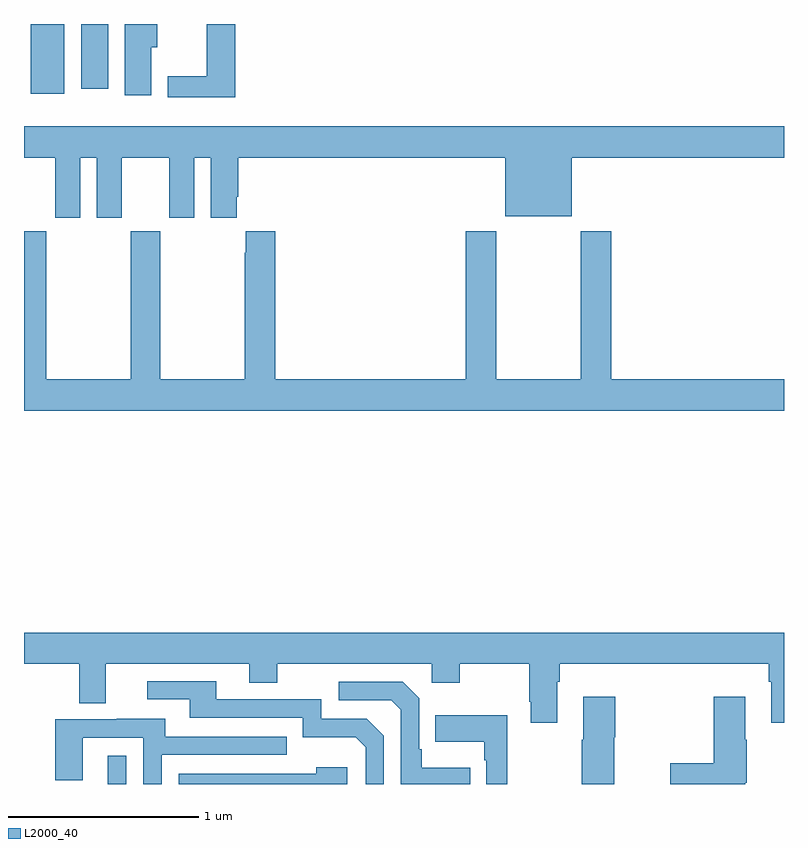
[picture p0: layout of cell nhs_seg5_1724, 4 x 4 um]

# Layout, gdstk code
import gdstk
lib = gdstk.Library(unit=1e-6, precision=1e-09)
def R(c, l, rs):  # rectangles x0, y0, x1, y1
    for r in rs: c.add(gdstk.rectangle(r[:2], r[2:], *l))
def P(c, l, *ps):  # polygons
    for p in ps: c.add(gdstk.Polygon(p, *l))
L2000_40 = (2000, 40)

nhs_seg5_1724 = lib.new_cell('nhs_seg5_1724')
R(nhs_seg5_1724, L2000_40, [(215.441,850.799,215.538,850.948), (215.036,854.432,215.212,854.799), (215.3,854.457,215.443,854.799)])
P(nhs_seg5_1724, L2000_40, [(215.671,854.677),(215.701,854.677),(215.701,854.799),(215.531,854.799),(215.531,854.424),(215.671,854.424)],
  [(216.113,854.799),(215.962,854.799),(215.962,854.524),(215.757,854.524),(215.757,854.414),(216.113,854.414)],
  [(215.296,854.096),(215.384,854.096),(215.384,853.779),(215.515,853.779),(215.515,854.096),(215.765,854.096),(215.765,853.779),(215.896,853.779),(215.896,854.096),(215.984,854.096),(215.984,853.779),(216.121,853.779),(216.121,853.891),(216.128,853.891),(216.128,854.096),(217.532,854.096),(217.532,853.787),(217.882,853.787),(217.882,854.096),(219,854.096),(219,854.26),(215,854.26),(215,854.096),(215.165,854.096),(215.165,853.779),(215.296,853.779)],
  [(219,852.928),(218.09,852.928),(218.09,853.708),(217.93,853.708),(217.93,852.928),(217.485,852.928),(217.485,853.708),(217.325,853.708),(217.325,852.928),(216.323,852.928),(216.323,853.708),(216.167,853.708),(216.167,853.595),(216.163,853.595),(216.163,852.928),(215.718,852.928),(215.718,853.708),(215.563,853.708),(215.563,852.928),(215.118,852.928),(215.118,853.708),(215,853.708),(215,852.764),(219,852.764)],
  [(215,851.432),(215.291,851.432),(215.291,851.224),(215.431,851.224),(215.431,851.432),(216.185,851.432),(216.185,851.333),(216.333,851.333),(216.333,851.432),(217.146,851.432),(217.146,851.333),(217.293,851.333),(217.293,851.432),(217.66,851.432),(217.66,851.233),(217.667,851.233),(217.667,851.121),(217.807,851.121),(217.807,851.336),(217.82,851.336),(217.82,851.432),(218.921,851.432),(218.921,851.336),(218.933,851.336),(218.933,851.121),(219,851.121),(219,851.596),(215,851.596)],
  [(216.894,851.052),(216.804,851.142),(216.564,851.142),(216.564,851.244),(216.013,851.244),(216.013,851.34),(215.649,851.34),(215.649,851.244),(215.873,851.244),(215.873,851.148),(216.468,851.148),(216.468,851.045),(216.745,851.045),(216.798,850.992),(216.798,850.799),(216.894,850.799)],
  [(217.349,850.885),(217.093,850.885),(217.093,850.981),(217.08,850.981),(217.08,851.25),(216.993,851.337),(216.657,851.337),(216.657,851.241),(216.933,851.241),(216.984,851.19),(216.984,850.799),(217.349,850.799)],
  [(218.106,851.044),(218.111,851.044),(218.111,851.257),(217.943,851.257),(217.943,851.033),(217.936,851.033),(217.936,850.799),(218.106,850.799)],
  [(218.797,850.805),(218.805,850.805),(218.805,851.033),(218.797,851.033),(218.797,851.257),(218.63,851.257),(218.63,850.909),(218.402,850.909),(218.402,850.799),(218.797,850.799)],
  [(217.543,851.161),(217.165,851.161),(217.165,851.021),(217.422,851.021),(217.422,850.925),(217.434,850.925),(217.434,850.799),(217.543,850.799)],
  [(215.724,850.953),(216.383,850.953),(216.383,851.049),(215.743,851.049),(215.743,851.143),(215.489,851.143),(215.489,851.139),(215.165,851.139),(215.165,850.819),(215.31,850.819),(215.31,851.043),(215.628,851.043),(215.628,850.799),(215.724,850.799)],
  [(216.7,850.888),(216.539,850.888),(216.539,850.854),(215.814,850.854),(215.814,850.799),(216.7,850.799)])

lib.write_gds('nhs_seg5_1724.gds')
